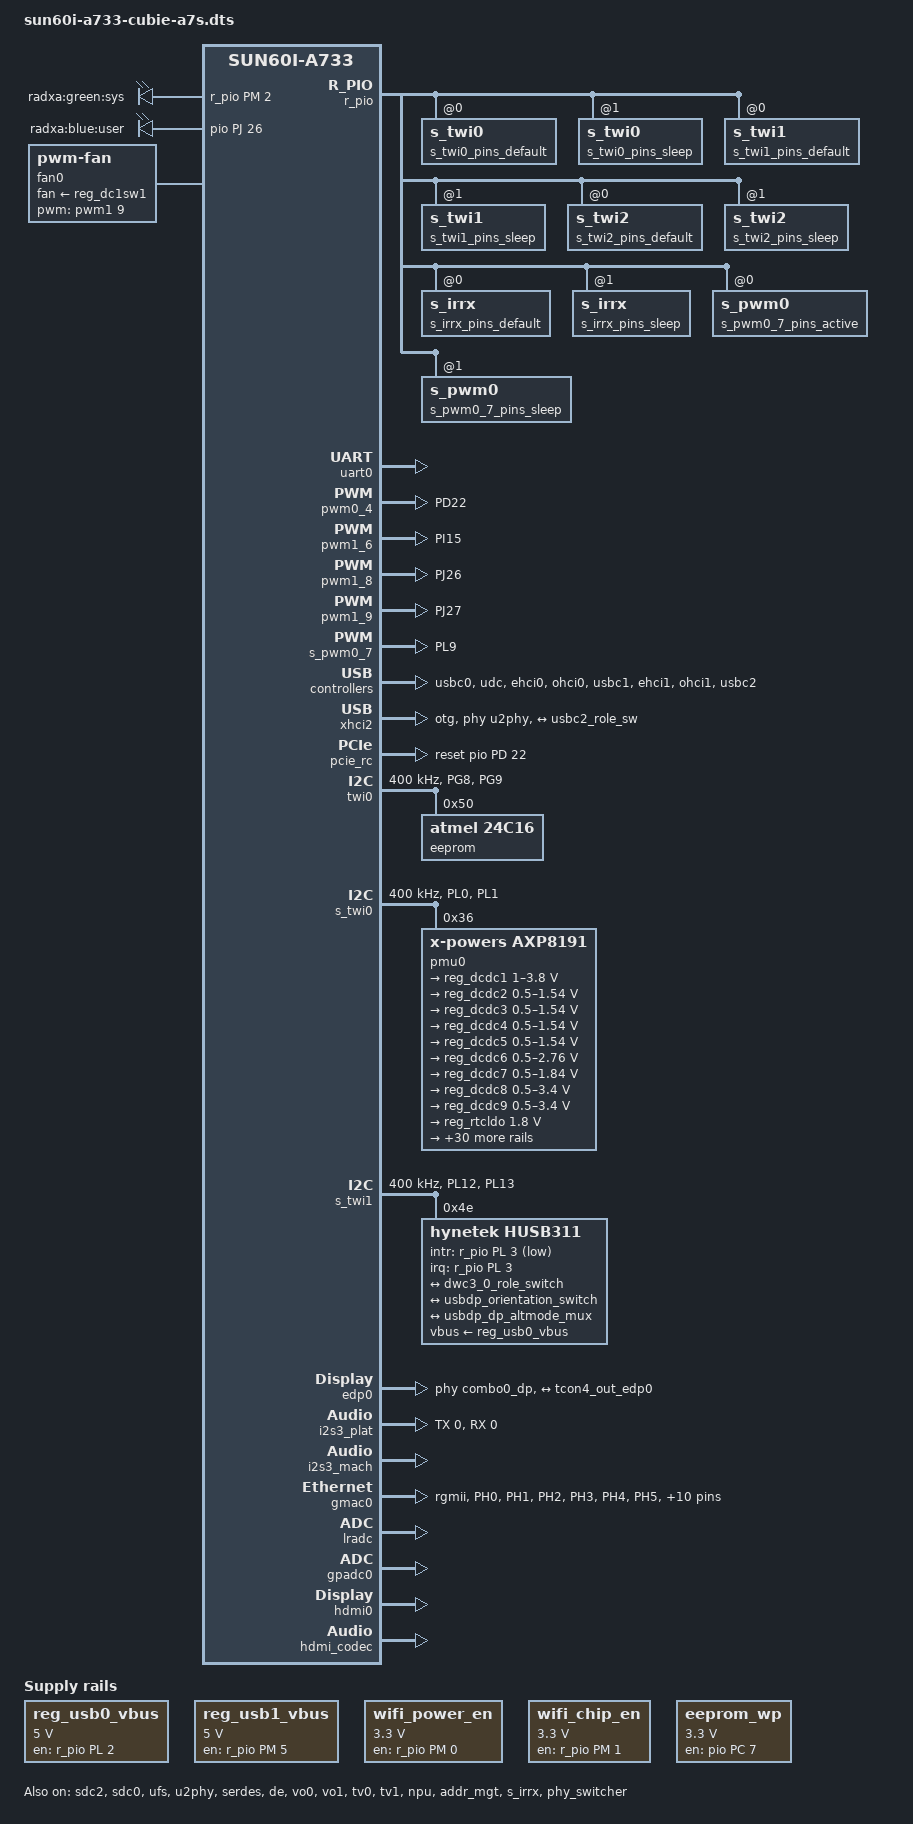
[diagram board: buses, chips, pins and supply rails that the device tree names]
// SPDX-License-Identifier: (GPL-2.0+ or MIT)

/dts-v1/;

#include "sun60iw2p1.dtsi"
#define TYPEC_DP 1
/{
	board = "A733", "A733-CUBIE-A7S-AXP318";
	compatible = "radxa,cubie-a7s", "arm,sun60iw2p1", "allwinner,sun60i-a733";
	aliases {
		arisc-config = &arisc_config;
		pmu0 = &pmu0;
		bat_supply = &bat_power_supply;
		phy_switcher = &phy_switcher;
	};

	reg_usb0_vbus: usb0-vbus {
		compatible = "regulator-fixed";
		regulator-name = "usb0-vbus";
		regulator-min-microvolt = <5000000>;
		regulator-max-microvolt = <5000000>;
		regulator-enable-ramp-delay = <1000>;
		gpio = <&r_pio PL 2 GPIO_ACTIVE_HIGH>;
		enable-active-high;
	};

	reg_usb1_vbus: usb1-vbus {
		compatible = "regulator-fixed";
		regulator-name = "usb1-vbus";
		regulator-min-microvolt = <5000000>;
		regulator-max-microvolt = <5000000>;
		regulator-enable-ramp-delay = <1000>;
		gpio = <&r_pio PM 5 GPIO_ACTIVE_HIGH>;
		enable-active-high;
	};

	wifi_power_en: wifi_power_en {
		compatible = "regulator-fixed";
		regulator-name = "wifi_power_en";
		regulator-min-microvolt = <3300000>;
		regulator-max-microvolt = <3300000>;
		regulator-enable-ramp-delay = <1000>;
		gpio = <&r_pio PM 0 GPIO_ACTIVE_HIGH>;
		enable-active-high;
		regulator-always-on;
		regulator-boot-on;
	};

	wifi_chip_en: wifi_chip_en {
		compatible = "regulator-fixed";
		regulator-name = "wifi_chip_en";
		regulator-min-microvolt = <3300000>;
		regulator-max-microvolt = <3300000>;
		regulator-enable-ramp-delay = <1000>;
		gpio = <&r_pio PM 1 GPIO_ACTIVE_HIGH>;
		enable-active-high;
		regulator-always-on;
		regulator-boot-on;
	};

	eeprom_wp: eeprom-wp {
		compatible = "regulator-fixed";
		regulator-name = "eeprom_wp";
		regulator-min-microvolt = <3300000>;
		regulator-max-microvolt = <3300000>;
		regulator-enable-ramp-delay = <1000>;
		gpio = <&pio PC 7 GPIO_ACTIVE_HIGH>;
		enable-active-high;
		regulator-always-on;
		regulator-boot-on;
	};

	arisc_config: arisc_config {
		s_uart_config{
			pins = "PL2", "PL3";
			function = <3>, <3>;
			status = "disabled";
		};
	};

	leds {
		compatible = "gpio-leds";

		led-0 {
			label = "radxa:green:sys";
			gpios = <&r_pio PM 2 GPIO_ACTIVE_HIGH>;
			linux,default-trigger = "default-on";
		};

		led-1 {
			label = "radxa:blue:user";
			gpios = <&pio PJ 26 GPIO_ACTIVE_HIGH>;
			linux,default-trigger = "heartbeat";
		};
	};

	fan0: pwm-fan {
		compatible = "pwm-fan";
		#cooling-cells = <2>;
		cooling-levels = <0 50 102 170 255>;
		fan-supply = <&reg_dc1sw1>;
		pwms = <&pwm1 9 25000 0>;
	};

	phy_switcher: phy_switcher@10 {
		compatible = "allwinner,sunxi-phy-switcher";
		reg = <0x0 0x10 0x0 0x0>;
		// hotplug = <&pio PH 4 GPIO_ACTIVE_HIGH>;
		aux_p = <&r_pio PL 10 GPIO_ACTIVE_HIGH>;
		aux_n = <&r_pio PL 11 GPIO_ACTIVE_HIGH>;
		phys = <&combo0_dp>, <&combo0_usb>;
		phy-names = "dp-phy", "usb-phy";
		dp_configure_delay = <20>;
		status = "okay";

		mode-switch;
		orientation-switch;
		svid = <0xff01>;
		port {
			#address-cells = <1>;
			#size-cells = <0>;
			usbdp_orientation_switch: endpoint@0 {
				reg = <0>;
				remote-endpoint = <&usbc2_orien_sw>;
			};
			usbdp_dp_altmode_mux: endpoint@1 {
				reg = <1>;
				remote-endpoint = <&dp_altmode_mux>;
			};
		};
	};
};

&ccu {
	clk-init-gate = <1>;
};

&pio {
	gpio-line-names =
	/* PA */
	"", "", "", "",
	"", "", "", "",
	"", "", "", "",
	"", "", "", "",
	"", "", "", "",
	"", "", "", "",
	"", "", "", "",
	"", "", "", "",
	/* PB */
	"PIN_7", "PIN_11", "PIN_29", "PIN_31",
	"PIN_36", "PIN_12", "PIN_35", "PIN_38",
	"PIN_37", "PIN_8", "PIN_10", "",
	"", "", "", "",
	"", "", "", "",
	"", "", "", "",
	"", "", "", "",
	"", "", "", "",
	/* PC */
	"", "", "", "",
	"", "", "", "",
	"", "", "", "",
	"", "", "", "",
	"", "", "", "",
	"", "", "", "",
	"", "", "", "",
	"", "", "", "",
	/* PD */
	"", "", "", "",
	"", "", "", "",
	"", "", "PIN_24", "PIN_23",
	"PIN_19", "PIN_21", "PIN_26", "",
	"PIN_28", "PIN_27", "", "",
	"", "", "", "",
	"", "", "", "",
	"", "", "", "",
	/* PE */
	"", "", "", "",
	"", "", "", "",
	"", "", "", "",
	"", "", "", "",
	"", "", "", "",
	"", "", "", "",
	"", "", "", "",
	"", "", "", "",
	/* PF */
	"", "", "", "",
	"", "", "", "",
	"", "", "", "",
	"", "", "", "",
	"", "", "", "",
	"", "", "", "",
	"", "", "", "",
	"", "", "", "",
	/* PG */
	"PIN_40", "PIN_41", "PIN_42", "PIN_43",
	"PIN_44", "PIN_45", "", "",
	"", "", "", "",
	"", "", "", "",
	"", "", "", "",
	"", "", "", "",
	"", "", "", "",
	"", "", "", "",
	/* PH */
	"", "", "", "",
	"", "", "", "",
	"", "", "", "",
	"", "", "", "",
	"", "", "", "",
	"", "", "", "",
	"", "", "", "",
	"", "", "", "",
	/* PI */
	"", "", "", "",
	"", "", "", "",
	"", "", "", "",
	"", "", "", "",
	"", "", "", "",
	"", "", "", "",
	"", "", "", "",
	"", "", "", "",
	/* PJ */
	"", "", "", "",
	"", "", "", "",
	"", "", "", "",
	"", "", "", "",
	"", "", "", "",
	"", "", "PIN_5", "PIN_3",
	"PIN_16", "PIN_18", "", "",
	"", "", "", "",
	/* PK */
	"", "", "", "",
	"", "", "", "",
	"", "", "", "",
	"", "", "", "",
	"", "", "", "",
	"", "", "", "",
	"", "", "", "",
	"", "", "", "";

	uart0_pins_active: uart0_pins@0 {
		pins = "", "";
		function = "uart0";
		drive-strength = <10>;
	};

	uart0_pins_sleep: uart0_pins@1 {
		pins = "", "";
		function = "gpio_in";
		drive-strength = <10>;
	};

	uart1_pins_active: uart1_pins@0 {
		pins = "PG6", "PG7", "PG8", "PG9";
		function = "uart1";
		drive-strength = <10>;
	};

	uart1_pins_sleep: uart1_pins@1 {
		pins = "PG6", "PG7", "PG8", "PG9";
		function = "io_disabled";
		drive-strength = <10>;
	};

	uart2_pins_active: uart2_pins@0 {
		pins = "PB0", "PB1", "PB2", "PB3";
		function = "uart2";
		drive-strength = <10>;
	};

	uart2_pins_sleep: uart2_pins@1 {
		pins = "PB0", "PB1", "PB2", "PB3";
		function = "io_disabled";
		drive-strength = <10>;
	};

	uart3_pins_active: uart3_pins@0 {
		pins = "PI1", "PI12";
		function = "uart3";
		drive-strength = <10>;
	};

	uart3_pins_sleep: uart3_pins@1 {
		pins = "PI11", "PI12";
		function = "io_disabled";
		drive-strength = <10>;
	};

	uart5_pins_active: uart5_pins@0 {
		pins = "", "";
		function = "uart5";
		drive-strength = <10>;
	};

	uart5_pins_sleep: uart5_pins@1 {
		pins = "", "";
		function = "io_disabled";
		drive-strength = <10>;
	};

	uart6_pins_active: uart6_pins@0 {
		pins = "PI6", "PI7";
		function = "uart6";
		drive-strength = <10>;
	};

	uart6_pins_sleep: uart6_pins@1 {
		pins = "PI6", "PI7";
		function = "io_disabled";
		drive-strength = <10>;
	};

	uart7_pins_active: uart7_pins@0 {
		pins = "PB11", "PB12", "PB13", "PB14";
		function = "uart7";
		drive-strength = <10>;
	};

	uart7_pins_sleep: uart7_pins@1 {
		pins = "PB11", "PB12", "PB13", "PB14";
		function = "io_disabled";
		drive-strength = <10>;
	};

	pwm0_4_pins_active: pwm0@0 {
		pins = "PD22";
		function = "pwm0_4";
		drive-strength = <10>;
	};

	pwm0_4_pins_sleep: pwm0@1 {
		pins = "PD22";
		function = "gpio_in";
		bias-pull-down;
	};

	pwm1_8_pins_active: pwm1@0 {
		pins = "PJ26";
		function = "pwm1_8";
		drive-strength = <10>;
	};

	pwm1_8_pins_sleep: pwm1@1 {
		pins = "PJ26";
		function = "gpio_in";
		bias-pull-down;
	};

	pwm1_9_pins_active: pwm1@0 {
		pins = "PJ27";
		function = "pwm1_9";
		drive-strength = <10>;
	};

	pwm1_9_pins_sleep: pwm1@1 {
		pins = "PJ27";
		function = "gpio_in";
		bias-pull-down;
	};

	pwm1_6_pins_active: pwm6@0 {
		pins = "PI15";
		function = "pwm1_6";
		drive-strength = <10>;
	};

	pwm1_6_pins_sleep: pwm6@1 {
		pins = "PI15";
		function = "gpio_in";
		bias-pull-down;
	};

	twi0_pins_default: twi0@0 {
		pins = "PG8", "PG9";
		function = "twi0";
		drive-strength = <10>;
		bias-pull-up;
	};

	twi0_pins_sleep: twi0@1 {
		pins = "PG8", "PG9";
		function = "gpio_in";
	};

	twi2_pins_default: twi2@0 {
		pins = "PD16", "PD17";
		function = "twi2";
		drive-strength = <10>;
		bias-pull-up;
	};

	twi2_pins_sleep: twi2@1 {
		pins = "PD16", "PD17";
		function = "gpio_in";
	};

	twi5_pins_default: twi5@0 {
		pins = "PI11", "PI12";
		function = "twi5";
		drive-strength = <10>;
		bias-pull-up;
	};

	twi5_pins_sleep: twi5@1 {
		pins = "PI11", "PI12";
		function = "gpio_in";
	};

	twi7_pins_default: twi4@0 {
		pins = "PJ22", "PJ23";
		function = "twi7";
		drive-strength = <10>;
		bias-pull-up;
	};

	twi7_pins_sleep: twi4@1 {
		pins = "PJ22", "PJ23";
		function = "gpio_in";
	};

	twi11_pins_default: twi11@0 {
		pins = "PI4", "PI5";
		function = "twi11";
		drive-strength = <10>;
		bias-pull-up;
	};

	twi11_pins_sleep: twi11@1 {
		pins = "PI4", "PI5";
		function = "gpio_in";
	};

	/* i2s0 pins */
	i2s0_pins_a: i2s0@0 {
		pins = "PB4";
		function = "i2s0_mclk";
		allwinner,drive = <1>;
		bias-disable;
	};

	i2s0_pins_b: i2s0@1 {
		pins = "PB5";
		function = "i2s0_bclk";
		allwinner,drive = <1>;
		bias-disable;
	};

	i2s0_pins_c: i2s0@2 {
		pins = "PB6";
		function = "i2s0_lrck";
		allwinner,drive = <1>;
		bias-disable;
	};

	i2s0_pins_e: i2s0@4 {
		pins = "PB7";
		function = "i2s0_dout0";
		allwinner,drive = <1>;
		bias-pull-down;
	};

	i2s0_pins_d: i2s0@3 {
		pins = "PB8";
		function = "i2s0_din0";
		allwinner,drive = <1>;
		bias-pull-down;
	};

	i2s0_pins_f: i2s0@5 {
		pins = "PB4", "PB5", "PB6", "PB7", "PB8";
		function = "io_disabled";
		allwinner,drive = <1>;
		bias-disable;
	};

	/* i2s1 pins */
	i2s1_pins_a: i2s1@0 {
		pins = "PG10";
		function = "i2s1_mclk";
		allwinner,drive = <1>;
		bias-disable;
	};

	i2s1_pins_b: i2s1@1 {
		pins = "PG11";
		function = "i2s1_bclk";
		allwinner,drive = <1>;
		bias-disable;
	};

	i2s1_pins_c: i2s1@2 {
		pins = "PG12";
		function = "i2s1_lrck";
		allwinner,drive = <1>;
		bias-disable;
	};

	i2s1_pins_d: i2s1@3 {
		pins = "PG13";
		function = "i2s1_din1";
		allwinner,drive = <1>;
		bias-disable;
	};

	i2s1_pins_e: i2s1@4 {
		pins = "PG14";
		function = "i2s1_dout1";
		allwinner,drive = <1>;
		bias-disable;
	};

	i2s1_pins_f: i2s1@5 {
		pins = "PG10", "PG11", "PG12", "PG13", "PG14";
		function = "io_disabled";
		allwinner,drive = <1>;
		bias-disable;
	};

	/* i2s2 pins */
	i2s2_pins_b: i2s2@1 {
		pins = "PH3";
		function = "i2s2_bclk";
		allwinner,drive = <1>;
		bias-disable;
	};

	i2s2_pins_c: i2s2@2 {
		pins = "PH4";
		function = "i2s2_lrck";
		allwinner,drive = <1>;
		bias-disable;
	};

	i2s2_pins_d: i2s2@3 {
		pins = "PH6";
		function = "i2s2_din0";
		allwinner,drive = <1>;
		bias-disable;
	};

	i2s2_pins_e: i2s2@4 {
		pins = "PH5";
		function = "i2s2_dout0";
		allwinner,drive = <1>;
		bias-disable;
	};

	i2s2_pins_f: i2s2@5 {
		pins = "PH3", "PH4", "PH5", "PH6";
		function = "io_disabled";
		allwinner,drive = <1>;
		bias-disable;
	};

	/* i2s4 pins */
	i2s4_pins_a: i2s4@0 {
		pins = "PJ17";
		function = "i2s4_mclk";
		allwinner,drive = <1>;
		bias-disable;
	};

	i2s4_pins_b: i2s4@1 {
		pins = "PJ16";
		function = "i2s4_bclk";
		allwinner,drive = <1>;
		bias-disable;
	};

	i2s4_pins_c: i2s4@2 {
		pins = "PJ18";
		function = "i2s4_lrck";
		allwinner,drive = <1>;
		bias-disable;
	};

	i2s4_pins_d: i2s4@3 {
		pins = "PJ19";
		function = "i2s4_din0";
		allwinner,drive = <1>;
		bias-pull-down;
	};

	i2s4_pins_f: i2s4@5 {
		pins = "PJ16", "PJ17", "PJ18", "PJ19";
		function = "io_disabled";
		allwinner,drive = <1>;
		bias-disable;
	};

	owa_pins_a: owa@0 {
		pins = "PI10";
		function = "owa0";
		allwinner,drive = <1>;
		bias-disable;
	};

	owa_pins_b: owa@1 {
		pins = "PI10";
		function = "io_disabled";
		allwinner,drive = <1>;
		bias-disable;
	};

	gmac0_pins_default: gmac0@0 {
		pins = "PH0", "PH1", "PH2", "PH3", "PH4", "PH5", "PH6", "PH7",
			"PH8", "PH9", "PH10", "PH11", "PH12","PH13", "PH14", "PH15";
		function = "rgmii0";
		allwinner,drive = <1>;
		bias-pull-up;
	};

	gmac0_pins_sleep: gmac0@1 {
		pins = "PH0", "PH1", "PH2", "PH3", "PH4", "PH5", "PH6", "PH7",
			"PH8", "PH9", "PH10", "PH11", "PH12","PH13", "PH14", "PH15";
		function = "io_disabled";
	};

	spi0_pins_default: spi0@0 {
		pins = "PC12", "PC2", "PC4"; /* clk, mosi, miso */
		function = "spi0";
		allwinner,drive = <1>;
		//drive-strength = <20>;
	};

	spi0_pins_cs: spi0@1 {
		pins = "PC3"; /* cs */
		function = "spi0";
		allwinner,drive = <1>;
		//drive-strength = <20>;
		bias-pull-up;
	};

	spi0_pins_sleep: spi0@2 {
		pins = "PC12", "PC2", "PC4", "PC3";
		function = "io_disabled";
	};

	ledc_pins_a: ledc@0 {
		pins = "PE4";
		function = "ledc";
		drive-strength = <10>;
	};

	ledc_pins_b: ledc@1 {
		pins = "PE4";
		function = "gpio_in";
	};
};

&r_pio {
	gpio-line-names =
	/* PL */
	"", "", "", "",
	"", "PIN_22", "PIN_13", "PIN_15",
	"", "", "", "",
	"", "", "", "",
	"", "", "", "",
	"", "", "", "",
	"", "", "", "",
	"", "", "", "",
	/* PM */
	"", "", "", "PIN_32",
	"PIN_33", "", "", "",
	"", "", "", "",
	"", "", "", "",
	"", "", "", "",
	"", "", "", "",
	"", "", "", "",
	"", "", "", "",
	"", "", "", "",
	/* PN */
	"", "", "", "",
	"", "", "", "",
	"", "", "", "",
	"", "", "", "",
	"", "", "", "",
	"", "", "", "",
	"", "", "", "",
	"", "", "", "";

	s_twi0_pins_default: s_twi0@0 {
		pins = "PL0", "PL1";
		function = "s_twi0";
		drive-strength = <10>;
		bias-pull-up;
	};

	s_twi0_pins_sleep: s_twi0@1 {
		pins = "PL0", "PL1";
		function = "gpio_in";
	};

	s_twi1_pins_default: s_twi1@0 {
		pins = "PL12", "PL13";
		function = "s_twi1";
		drive-strength = <30>;
		//bias-pull-up;
	};

	s_twi1_pins_sleep: s_twi1@1 {
		pins = "PL12", "PL13";
		function = "gpio_in";
	};

	s_twi2_pins_default: s_twi2@0 {
		pins = "PL4", "PL5";
		function = "s_twi2";
		drive-strength = <10>;
		bias-pull-up;
	};

	s_twi2_pins_sleep: s_twi2@1 {
		pins = "PL4", "PL5";
		function = "gpio_in";
	};

	s_irrx_pins_default: s_irrx@0 {
		pins = "PL4";
		function = "s_ir_rx";
	};

	s_irrx_pins_sleep: s_irrx@1 {
		pins = "PL4";
		function = "gpio_in";
	};

	s_pwm0_7_pins_active:s_pwm0@0 {
		pins = "PL9";
		function = "s_pwm0_7";
		drive-strength = <10>;
	};

	s_pwm0_7_pins_sleep:s_pwm0@1 {
		pins = "PL9";
		function = "gpio_in";
		bias-pull-down;
	};
};

&soc {
	auto_print@54321 {
		reg = <0x0 0x54321 0x0 0x0>;
		device_type = "auto_print";
		status = "okay";
	};

	gpio_leds {
		compatible = "allwinner,sunxi-gpio-leds";
		supply-num = <1>;
		gpio1-supply = <&reg_dcdc1>;
		gpio-pins = <&pio PJ 26 GPIO_ACTIVE_HIGH>;
		pin-names = "standby_led";
		init-status = <GPIO_ACTIVE_HIGH>;
		/* disabled: conflicts with gpio-leds/led-1 heartbeat on PJ 26 */
		status = "disabled";
	};

};

&msgbox {
	status = "disabled";
};

&hwspinlock {
	status = "disabled";
};

&uart0 {
	/* allwinner,uart-v100 is not matched by any compiled driver (AW_UART handles
	 * older sun8i/50i/55i strings; AW_UART_NG not enabled). Add snps,dw-apb-uart
	 * so CONFIG_SERIAL_8250_DW binds and creates /dev/ttyS0. reg-shift=2 and
	 * reg-io-width=4 match earlycon mmio32 — standard for Allwinner 32-bit UARTs. */
	compatible = "allwinner,uart-v100", "snps,dw-apb-uart";
	reg-shift = <2>;
	reg-io-width = <4>;
	pinctrl-names = "default", "sleep";
	pinctrl-0 = <&uart0_pins_active>;
	pinctrl-1 = <&uart0_pins_sleep>;
	status = "okay";
};

&uart2 {
	pinctrl-names = "default", "sleep";
	pinctrl-0 = <&uart2_pins_active>;
	pinctrl-1 = <&uart2_pins_sleep>;
	status = "disabled";
};

&uart3 {
	pinctrl-names = "default", "sleep";
	pinctrl-0 = <&uart3_pins_active>;
	pinctrl-1 = <&uart3_pins_sleep>;
	status = "disabled";
};

&uart5 {
	pinctrl-names = "default", "sleep";
	pinctrl-0 = <&uart5_pins_active>;
	pinctrl-1 = <&uart5_pins_sleep>;
	status = "disabled";
};

&uart6 {
	pinctrl-names = "default", "sleep";
	pinctrl-0 = <&uart6_pins_active>;
	pinctrl-1 = <&uart6_pins_sleep>;
	status = "disabled";
};

&uart7 {
	pinctrl-names = "default", "sleep";
	pinctrl-0 = <&uart7_pins_active>;
	pinctrl-1 = <&uart7_pins_sleep>;
	status = "disabled";
};

&pwm0_4 {
	pinctrl-names = "active", "sleep";
	pinctrl-0 = <&pwm0_4_pins_active>;
	pinctrl-1 = <&pwm0_4_pins_sleep>;
	status = "okay";
};

&pwm1_6 {
	pinctrl-names = "active", "sleep";
	pinctrl-0 = <&pwm1_6_pins_active>;
	pinctrl-1 = <&pwm1_6_pins_sleep>;
	status = "okay";
};

&pwm1_8 {
	pinctrl-names = "active", "sleep";
	pinctrl-0 = <&pwm1_8_pins_active>;
	pinctrl-1 = <&pwm1_8_pins_sleep>;
	status = "okay";
};

&pwm1_9 {
	pinctrl-names = "active", "sleep";
	pinctrl-0 = <&pwm1_9_pins_active>;
	pinctrl-1 = <&pwm1_9_pins_sleep>;
	status = "okay";
};

&s_pwm0_7 {
	pinctrl-names = "active", "sleep";
	pinctrl-0 = <&s_pwm0_7_pins_active>;
	pinctrl-1 = <&s_pwm0_7_pins_sleep>;
	status = "okay";
};

&soc{

};

/*
 * CPU DVFS OPP tables — voltages from BSP sun60iw2p1-cpu-vf.dtsi vf0000
 * grade (worst-case, safe for all silicon).
 * DCDC5 → LITTLE cluster (cpu0-5), DCDC3 → BIG cluster (cpu6-7).
 */
/ {
	a733_cluster0_opp: cluster0-opp-table-a733 {
		compatible = "operating-points-v2";
		opp-shared;

		opp-408000000  { opp-hz = /bits/ 64 <408000000>;  opp-microvolt = <800000>;  clock-latency-ns = <244144>; };
		opp-720000000  { opp-hz = /bits/ 64 <720000000>;  opp-microvolt = <800000>;  clock-latency-ns = <244144>; };
		opp-1008000000 { opp-hz = /bits/ 64 <1008000000>; opp-microvolt = <800000>;  clock-latency-ns = <244144>; };
		opp-1200000000 { opp-hz = /bits/ 64 <1200000000>; opp-microvolt = <800000>;  clock-latency-ns = <244144>; };
		opp-1416000000 { opp-hz = /bits/ 64 <1416000000>; opp-microvolt = <800000>;  clock-latency-ns = <244144>; };
		opp-1608000000 { opp-hz = /bits/ 64 <1608000000>; opp-microvolt = <900000>;  clock-latency-ns = <244144>; };
		opp-1800000000 { opp-hz = /bits/ 64 <1800000000>; opp-microvolt = <1000000>; clock-latency-ns = <244144>; };
	};

	a733_cluster1_opp: cluster1-opp-table-a733 {
		compatible = "operating-points-v2";
		opp-shared;

		opp-408000000  { opp-hz = /bits/ 64 <408000000>;  opp-microvolt = <800000>; clock-latency-ns = <244144>; };
		opp-720000000  { opp-hz = /bits/ 64 <720000000>;  opp-microvolt = <800000>; clock-latency-ns = <244144>; };
		opp-1008000000 { opp-hz = /bits/ 64 <1008000000>; opp-microvolt = <800000>; clock-latency-ns = <244144>; };
		opp-1200000000 { opp-hz = /bits/ 64 <1200000000>; opp-microvolt = <800000>; clock-latency-ns = <244144>; };
		opp-1512000000 { opp-hz = /bits/ 64 <1512000000>; opp-microvolt = <800000>;  clock-latency-ns = <244144>; };
		opp-1800000000 { opp-hz = /bits/ 64 <1800000000>; opp-microvolt = <950000>;  clock-latency-ns = <244144>; };
		opp-2000000000 { opp-hz = /bits/ 64 <2000000000>; opp-microvolt = <1050000>; clock-latency-ns = <244144>; };
	};
};

/* Point all CPU nodes at the clean OPP tables above */
&cpu0 { operating-points-v2 = <&a733_cluster0_opp>; };
&cpu1 { operating-points-v2 = <&a733_cluster0_opp>; };
&cpu2 { operating-points-v2 = <&a733_cluster0_opp>; };
&cpu3 { operating-points-v2 = <&a733_cluster0_opp>; };
&cpu4 { operating-points-v2 = <&a733_cluster0_opp>; };
&cpu5 { operating-points-v2 = <&a733_cluster0_opp>; };
&cpu6 { operating-points-v2 = <&a733_cluster1_opp>; };
&cpu7 { operating-points-v2 = <&a733_cluster1_opp>; };

&cpul_target {
	temperature = <60000>;
	hysteresis = <2000>;
};

&cpul_threshold{
	type = "active";
	temperature = <60000>;
	hysteresis = <2000>;
};

&cpul_thermal_zone {
	cooling-maps {
		map0 {
			trip = <&cpul_target>;
			cooling-device = <&cpu0 THERMAL_NO_LIMIT THERMAL_NO_LIMIT>;
			contribution = <1024>;
		};

		map1 {
			trip = <&cpul_threshold>;
			cooling-device = <&fan0 THERMAL_NO_LIMIT THERMAL_NO_LIMIT>;
			contribution = <1024>;
		};
	};
};

&cpub_target {
	temperature = <60000>;
	hysteresis = <2000>;
};

&cpub_threshold{
	type = "active";
	temperature = <60000>;
	hysteresis = <2000>;
};

&cpub_thermal_zone {
	cooling-maps {
		map0 {
			trip = <&cpub_target>;
			cooling-device = <&cpu6 THERMAL_NO_LIMIT THERMAL_NO_LIMIT>;
			contribution = <1024>;
		};

		map1 {
			trip = <&cpub_threshold>;
			cooling-device = <&fan0 2 THERMAL_NO_LIMIT>;
			contribution = <1024>;
		};
	};
};

&sdc2 {
	non-removable;
	bus-width = <8>;
	mmc-ddr-1_8v;
	mmc-hs200-1_8v;
	mmc-hs400-1_8v;
	no-sdio;
	no-sd;
	ctl-spec-caps = <0x328>;
	cap-mmc-highspeed;
	sunxi-power-save-mode;
	sunxi-dis-signal-vol-sw;
	mmc-bootpart-noacc;
	cap-hsq;
	/*cqe-on;*/
	ctl-cmdq-md = <0x2>;
	max-frequency = <200000000>;
	/*vmmc-supply = <&reg_cldo3>;*/
	/*emmc io vol 3.3v*/
	/*vqmmc-supply = <&reg_aldo1>;*/
	/*emmc io vol 1.8v*/
	/*vqmmc-supply = <&reg_cldo1>;*/
	vmmc-supply = <&reg_dc1sw2>;
	vqmmc33sw-supply = <&reg_dc1sw2>;
	vdmmc33sw-supply = <&reg_dc1sw2>;
	vqmmc18sw-supply = <&reg_cldo5>;
	vdmmc18sw-supply = <&reg_cldo5>;
	status = "okay";
};

&sdc1 {
	status = "disabled";
};

&sdc0 {
	bus-width = <4>;
	cd-gpios = <&pio PF 6 (GPIO_ACTIVE_HIGH | GPIO_PULL_DOWN)>;
	/*non-removable;*/
	/*broken-cd;*/
	/*cd-inverted*/
	/*data3-detect;*/
	/*card-pwr-gpios = <&pio PH 14 1 1 2 0xffffffff>;*/
	cd-used-24M;
	cd-set-debounce = <0x1>;
	cap-sd-highspeed;
	no-1-8-v;
	no-sdio;
	no-mmc;
	sunxi-power-save-mode;
	sunxi-dis-signal-vol-sw;
	max-frequency = <200000000>;
	ctl-spec-caps = <0x428>;
	vmmc-supply = <&reg_dc1sw2>;
	vqmmc33sw-supply = <&reg_dc1sw2>;
	vdmmc33sw-supply = <&reg_dc1sw2>;
	vqmmc18sw-supply = <&reg_cldo5>;
	vdmmc18sw-supply = <&reg_cldo5>;
	status = "okay";
};

&ufs {
	vcc-supply = <&reg_dldo6>;
	vccq-supply = <&reg_dcdc8>;
	vccq2-supply = <&reg_dcdc8>;
	status = "okay";
};

#ifdef TYPEC_DP
// &usbc0 {
// 	usb-role-switch;
// 	port {
// 		#address-cells = <1>;
// 		#size-cells = <0>;
// 		usbc0_role_switch: endpoint@0 {
// 			reg = <0>;
// 			remote-endpoint = <&usbc0_role_sw>;
// 		};
// 	};
// };
#endif

/*
 * usb_port_type: usb mode. 0-device, 1-host, 2-otg.
 * usb_detect_type: usb hotplug detect mode. 0-none, 1-vbus/id detect, 2-pmu detect, 3-tcpm detect.
 * usb_detect_mode: 0-thread scan, 1-id gpio interrupt, 2-pmu notify.
 * usb_id_gpio: gpio for id detect.
 * usb_det_vbus_gpio: gpio for id detect. gpio or "axp_ctrl".
 * usb_wakeup_suspend：0-SUPER_STANDBY, 1-USB_STANDBY.
 */
&usbc0 {
	device_type = "usbc0";
	usb_port_type = <0x0>;
// #ifdef TYPEC_DP
// 	usb_detect_type = <0x3>;
// #else
// 	usb_detect_type = <0x1>;
// #endif
	usb_detect_type = <0x2>;
	usb_detect_mode = <0x2>;
	usb_id_gpio;
	//enable-active-high;
	usb_det_vbus_gpio = "axp_ctrl";
	//enable-active-high;
	detvbus_io-supply = <&reg_cldo1>;
	usb_regulator_io = "nocare";
	usb_wakeup_suspend = <0>;
	usb_luns = <3>;
	usb_serial_unique = <0>;
	usb_serial_number = "20080411";
	rndis_wceis = <1>;
	status = "okay";
};

&udc {
	phy_range = <0x188>;
	status = "okay";
};

&ehci0 {
	phy_range = <0x188>;
	status = "okay";
};

&ohci0 {
	phy_range = <0x188>;
	status = "okay";
};

&usbc1 {
	device_type = "usbc1";
	usb_regulator_io = "nocare";
	usb_wakeup_suspend = <0>;
	status = "okay";
};

&ehci1 {
	phy_range = <0x188>;
	drvvbus-supply = <&reg_usb1_vbus>;
	status = "okay";
};

&ohci1 {
	phy_range = <0x188>;
	drvvbus-supply = <&reg_usb1_vbus>;
	status = "okay";
};

&usbc2 {
	device_type = "usbc2";
	drvvbus-supply = <&reg_usb0_vbus>;
	status = "okay";
};

&xhci2 {
	dr_mode = "otg"; //dr_mode option: host, peripheral, otg
	role-switch-default-mode = "host";
	phy-names = "usb2-phy", "usb3-phy";
	status = "okay";

#ifdef TYPEC_DP
	phys = <&u2phy>, <&combo0_usb>;
	usb-role-switch;
	port {
		#address-cells = <1>;
		#size-cells = <0>;
		dwc3_0_role_switch: endpoint@0 {
			reg = <0>;
			remote-endpoint = <&usbc2_role_sw>;
		};
	};
#else
	phys = <&u2phy>, <&combo1_usb>;
#endif
 };

&u2phy {
	status = "okay";
};

&serdes {
	serdes1v8-supply = <&reg_cldo5>;
	status = "okay";
	combophy0: combo-phy0@6c01000 {
		lane_invert = <1 1 1 1>;
#ifdef TYPEC_DP
		lane_remap = <0 1 2 3>;
#else
		lane_remap = <2 3 0 1>;
#endif
		typec_remap = <2 3 0 1>;
	};
};

&pcie_rc {
	pcie1v8-supply = <&reg_dc1sw1>;
	pcie3v3-supply = <&reg_bldo2>;
	power-gpios =  <&pio PD 20 GPIO_ACTIVE_HIGH>;
	reset-gpios = <&pio PD 22 GPIO_ACTIVE_HIGH>;
	wake-gpios = <&pio PD 21 GPIO_ACTIVE_HIGH>;
	status = "okay";
};

&twi0 {
	clock-frequency = <400000>;
	pinctrl-0 = <&twi0_pins_default>;
	pinctrl-1 = <&twi0_pins_sleep>;
	pinctrl-names = "default", "sleep";
	/* For stability and backwards compatibility, we recommend setting ‘twi_drv_used’ to 1 */
	twi_drv_used = <0>;
	no_suspend = <1>;
	twi-supply = <&reg_aldo1>;
	status = "okay";

	eeprom@50 {
		compatible = "atmel,24c16";
		reg = <0x50>;
		//num-addresses = <1>;
		status = "okay";
	};
};

&s_twi0 {
	clock-frequency = <400000>;
	pinctrl-0 = <&s_twi0_pins_default>;
	pinctrl-1 = <&s_twi0_pins_sleep>;
	pinctrl-names = "default", "sleep";
	/* For stability and backwards compatibility, we recommend setting ‘twi_drv_used’ to 1 */
	twi_drv_used = <1>;
	//twi-supply = <&reg_aldo1>;
	no_suspend = <1>;
	status = "okay";

	pmu1: pmu@34 {
		compatible = "x-powers,axp515";
		reg = <0x34>;
		status = "disabled";
		interrupts = <0 IRQ_TYPE_LEVEL_LOW>;
		interrupt-parent = <&nmi_intc>;
		x-powers,drive-vbus-en;
		pmu_irq_wakeup = <1>;
		pmu_hot_shutdown = <1>;
		pmu_thermal_threshold = <120>;

		wakeup-source;

		powerkey0: powerkey@0 {
			status = "disabled";
			compatible = "x-powers,axp515-pek";
		};

		usb_power_supply: usb_power_supply {
			compatible = "x-powers,axp515-usb-power-supply";
			status = "disabled";

			pmu_usbpc_vol = <4600>;
			pmu_usbpc_cur = <500>;
			pmu_usbad_vol = <4500>;
			pmu_usbad_cur = <2500>;
			pmu_usb_typec_used = <1>;
			wakeup_usb_in;
			wakeup_usb_out;
			wakeup_typec_in;
			wakeup_typec_out;

			det_battery_supply = <&bat_power_supply>;
		};

		bat_power_supply: bat-power-supply {
			compatible = "x-powers,axp515-bat-power-supply";
			status = "disabled";
			pmu_chg_ic_temp = <0>;

			pmu_battery_rdc= <88>;
			pmu_battery_cap = <7085>;
			pmu_runtime_chgcur = <1000>;
			pmu_suspend_chgcur = <1500>;
			pmu_shutdown_chgcur = <1500>;
			pmu_init_chgvol = <4350>;
			pmu_battery_warning_level1 = <15>;
			pmu_battery_warning_level2 = <0>;
			pmu_chgled_func = <0>;
			pmu_chgled_type = <0>;
			pmu_bat_para1 = <0>;
			pmu_bat_para2 = <0>;
			pmu_bat_para3 = <0>;
			pmu_bat_para4 = <0>;
			pmu_bat_para5 = <1>;
			pmu_bat_para6 = <2>;
			pmu_bat_para7 = <2>;
			pmu_bat_para8 = <2>;
			pmu_bat_para9 = <3>;
			pmu_bat_para10 = <7>;
			pmu_bat_para11 = <12>;
			pmu_bat_para12 = <15>;
			pmu_bat_para13 = <20>;
			pmu_bat_para14 = <25>;
			pmu_bat_para15 = <32>;
			pmu_bat_para16 = <37>;
			pmu_bat_para17 = <43>;
			pmu_bat_para18 = <51>;
			pmu_bat_para19 = <57>;
			pmu_bat_para20 = <61>;
			pmu_bat_para21 = <65>;
			pmu_bat_para22 = <70>;
			pmu_bat_para23 = <73>;
			pmu_bat_para24 = <78>;
			pmu_bat_para25 = <81>;
			pmu_bat_para26 = <85>;
			pmu_bat_para27 = <88>;
			pmu_bat_para28 = <92>;
			pmu_bat_para29 = <93>;
			pmu_bat_para30 = <97>;
			pmu_bat_para31 = <100>;
			pmu_bat_para32 = <100>;

			pmu_bat_temp_enable = <1>;
			pmu_jetia_en        = <0>;
			pmu_bat_charge_ltf = <2079>; //-5
			pmu_bat_charge_htf = <180>; //60
			pmu_bat_shutdown_ltf = <2616>; //-10
			pmu_bat_shutdown_htf = <157>; //65
			pmu_jetia_cool = <1664>; //0
			pmu_jetia_warm = <248>; //50
			pmu_jcool_ifall = <1>;//50%
			pmu_jwarm_ifall = <1>;//50%
			pmu_bat_temp_para1 = <5450>; //Murata -25
			pmu_bat_temp_para2 = <3315>; //-15
			pmu_bat_temp_para3 = <2616>; //-10
			pmu_bat_temp_para4 = <2079>; //-5
			pmu_bat_temp_para5 = <1664>;//0
			pmu_bat_temp_para6 = <1340>; //5
			pmu_bat_temp_para7 = <1086>; //10
			pmu_bat_temp_para8 = <727>; //20
			pmu_bat_temp_para9 = <498>; //30
			pmu_bat_temp_para10 = <348>; //40
			pmu_bat_temp_para11 = <293>; //45
			pmu_bat_temp_para12 = <248>; //50
			pmu_bat_temp_para13 = <211>; //55
			pmu_bat_temp_para14 = <180>; //60
			pmu_bat_temp_para15 = <133>; //70
			pmu_bat_temp_para16 = <100>; //80

			wakeup_bat_out;
			wakeup_new_soc;
			/* wakeup_bat_in; */
			/* wakeup_bat_charging; */
			/* wakeup_bat_charge_over; */
			/* wakeup_low_warning1; */
			/* wakeup_low_warning2; */
			wakeup_bat_untemp_chg;
			wakeup_bat_ovtemp_chg;
		};

		regulator1: regulators@1 {
			compatible = "x-powers,axp515-regulator";
			status = "disabled";
			reg_drivevbus: drivevbus {
				regulator-name = "axp515-drivevbus";
				regulator-enable-ramp-delay = <1000>;
			};
		};

		virtual-drivevbus {
			compatible = "xpower-vregulator,drivevbus";
			drivevbus-supply = <&reg_drivevbus>;
		};
	};

	pmu0: pmu@36 {
		compatible = "x-powers,axp8191";
		reg = <0x36>;
		status = "okay";
		interrupts = <0 IRQ_TYPE_LEVEL_LOW>;
		interrupt-parent = <&nmi_intc>;
		pmu_irq_wakeup = <1>;
		pmu_hot_shutdown = <1>;

		powerkey1: powerkey@1 {
			compatible = "x-powers,axp2101-pek";
			status = "okay";
			pmu_powkey_off_en = <1>;
			pmu_powkey_off_func = <1>;
			pmu_powkey_off_time = <8000>;
			pmu_powkey_long_time = <1500>;
			pmu_powkey_on_time = <1000>;
			wakeup_rising;
			wakeup_falling;
		};

		regulator0: regulators@0 {
			reg_dcdc1: dcdc1 {
				regulator-name = "axp8191-dcdc1";
				regulator-min-microvolt = <1000000>;
				regulator-max-microvolt = <3800000>;
				regulator-enable-ramp-delay = <1000>;
				regulator-ramp-delay = <250>;
				regulator-boot-on;
				regulator-always-on;
			};
			reg_dcdc2: dcdc2 {
				regulator-name = "axp8191-dcdc2";
				regulator-min-microvolt = <500000>;
				regulator-max-microvolt = <1540000>;
				regulator-ramp-delay = <250>;
				regulator-enable-ramp-delay = <1000>;
				regulator-boot-on;
				regulator-always-on;
			};
			reg_dcdc3: dcdc3 {
				regulator-name = "axp8191-dcdc3";
				regulator-min-microvolt = <500000>;
				regulator-max-microvolt = <1540000>;
				regulator-ramp-delay = <250>;
				regulator-enable-ramp-delay = <1000>;
				regulator-boot-on;
				regulator-always-on;
			};
			reg_dcdc4: dcdc4 {
				regulator-name = "axp8191-dcdc4";
				regulator-min-microvolt = <500000>;
				regulator-max-microvolt = <1540000>;
				regulator-ramp-delay = <250>;
				regulator-enable-ramp-delay = <1000>;
				regulator-boot-on;
				regulator-always-on;
			};
			reg_dcdc5: dcdc5 {
				regulator-name = "axp8191-dcdc5";
				regulator-min-microvolt = <500000>;
				regulator-max-microvolt = <1540000>;
				regulator-ramp-delay = <250>;
				regulator-enable-ramp-delay = <1000>;
				regulator-boot-on;
				regulator-always-on;
			};
			reg_dcdc6: dcdc6 {
				regulator-name = "axp8191-dcdc6";
				regulator-min-microvolt = <500000>;
				regulator-max-microvolt = <2760000>;
				regulator-ramp-delay = <250>;
				regulator-enable-ramp-delay = <1000>;
				regulator-boot-on;
				regulator-always-on;
			};
			reg_dcdc7: dcdc7 {
				regulator-name = "axp8191-dcdc7";
				regulator-min-microvolt = <500000>;
				regulator-max-microvolt = <1840000>;
				regulator-ramp-delay = <250>;
				regulator-enable-ramp-delay = <1000>;
				regulator-boot-on;
				regulator-always-on;
			};
			reg_dcdc8: dcdc8 {
				regulator-name = "axp8191-dcdc8";
				regulator-min-microvolt = <500000>;
				regulator-max-microvolt = <3400000>;
				regulator-ramp-delay = <250>;
				regulator-enable-ramp-delay = <1000>;
				regulator-boot-on;
				regulator-always-on;
			};
			reg_dcdc9: dcdc9 {
				regulator-name = "axp8191-dcdc9";
				regulator-min-microvolt = <500000>;
				regulator-max-microvolt = <3400000>;
				regulator-ramp-delay = <250>;
				regulator-enable-ramp-delay = <1000>;
				regulator-boot-on;
				regulator-always-on;
			};
			reg_rtcldo: rtcldo {
				/* RTC_LDO is a fixed, always-on regulator */
				regulator-name = "axp8191-rtcldo";
				regulator-min-microvolt = <1800000>;
				regulator-max-microvolt = <1800000>;
				regulator-boot-on;
				regulator-always-on;
			};
			reg_aldo1: aldo1 {
				regulator-name = "axp8191-aldo1";
				regulator-min-microvolt = <500000>;
				regulator-max-microvolt = <3400000>;
				regulator-enable-ramp-delay = <1000>;
				regulator-boot-on;
				regulator-always-on;
			};
			reg_aldo2: aldo2 {
				regulator-name = "axp8191-aldo2";
				regulator-min-microvolt = <500000>;
				regulator-max-microvolt = <3400000>;
				regulator-enable-ramp-delay = <1000>;
			};
			reg_aldo3: aldo3 {
				regulator-name = "axp8191-aldo3";
				regulator-min-microvolt = <500000>;
				regulator-max-microvolt = <3400000>;
				regulator-enable-ramp-delay = <1000>;
			};
			reg_aldo4: aldo4 {
				regulator-name = "axp8191-aldo4";
				regulator-min-microvolt = <500000>;
				regulator-max-microvolt = <3400000>;
				regulator-enable-ramp-delay = <1000>;
			};
			reg_aldo5: aldo5 {
				regulator-name = "axp8191-aldo5";
				regulator-min-microvolt = <500000>;
				regulator-max-microvolt = <3400000>;
				regulator-enable-ramp-delay = <1000>;
			};
			reg_aldo6: aldo6 {
				regulator-name = "axp8191-aldo6";
				regulator-min-microvolt = <500000>;
				regulator-max-microvolt = <3400000>;
				regulator-enable-ramp-delay = <1000>;
			};
			reg_bldo1: bldo1 {
				regulator-name = "axp8191-bldo1";
				regulator-min-microvolt = <500000>;
				regulator-max-microvolt = <3400000>;
				regulator-enable-ramp-delay = <1000>;
				regulator-boot-on;
				regulator-always-on;
			};
			reg_bldo2: bldo2 {
				regulator-name = "axp8191-bldo2";
				regulator-min-microvolt = <500000>;
				regulator-max-microvolt = <3400000>;
				regulator-enable-ramp-delay = <1000>;
				regulator-boot-on;
				regulator-always-on;
			};
			reg_bldo3: bldo3 {
				regulator-name = "axp8191-bldo3";
				regulator-min-microvolt = <500000>;
				regulator-max-microvolt = <3400000>;
				regulator-enable-ramp-delay = <1000>;
			};
			reg_bldo4: bldo4 {
				regulator-name = "axp8191-bldo4";
				regulator-min-microvolt = <500000>;
				regulator-max-microvolt = <3400000>;
				regulator-enable-ramp-delay = <1000>;
			};
			reg_bldo5: bldo5 {
				regulator-name = "axp8191-bldo5";
				regulator-min-microvolt = <500000>;
				regulator-max-microvolt = <3400000>;
				regulator-enable-ramp-delay = <1000>;
				regulator-boot-on;
				regulator-always-on;
			};
			reg_cldo1: cldo1 {
				regulator-name = "axp8191-cldo1";
				regulator-min-microvolt = <500000>;
				regulator-max-microvolt = <3500000>;
				regulator-enable-ramp-delay = <1000>;
				regulator-boot-on;
				regulator-always-on;
			};
			reg_cldo2: cldo2 {
				regulator-name = "axp8191-cldo2";
				regulator-min-microvolt = <500000>;
				regulator-max-microvolt = <3500000>;
				regulator-enable-ramp-delay = <1000>;
			};
			reg_cldo3: cldo3 {
				regulator-name = "axp8191-cldo3";
				regulator-min-microvolt = <500000>;
				regulator-max-microvolt = <3500000>;
				regulator-enable-ramp-delay = <1000>;
				regulator-boot-on;
				regulator-always-on;
			};
			reg_cldo4: cldo4 {
				regulator-name = "axp8191-cldo4";
				regulator-min-microvolt = <500000>;
				regulator-max-microvolt = <3500000>;
				regulator-enable-ramp-delay = <1000>;
			};
			reg_cldo5: cldo5 {
				regulator-name = "axp8191-cldo5";
				regulator-min-microvolt = <500000>;
				regulator-max-microvolt = <3400000>;
				regulator-enable-ramp-delay = <1000>;
				regulator-boot-on;
				regulator-always-on;
			};
			reg_dldo1: dldo1 {
				regulator-name = "axp8191-dldo1";
				regulator-min-microvolt = <500000>;
				regulator-max-microvolt = <3400000>;
				regulator-enable-ramp-delay = <1000>;
				regulator-boot-on;
				regulator-always-on;
			};
			reg_dldo2: dldo2 {
				regulator-name = "axp8191-dldo2";
				regulator-min-microvolt = <500000>;
				regulator-max-microvolt = <3400000>;
				regulator-enable-ramp-delay = <1000>;
			};
			reg_dldo3: dldo3 {
				regulator-name = "axp8191-dldo3";
				regulator-min-microvolt = <500000>;
				regulator-max-microvolt = <3400000>;
				regulator-enable-ramp-delay = <1000>;
			};
			reg_dldo4: dldo4 {
				regulator-name = "axp8191-dldo4";
				regulator-min-microvolt = <500000>;
				regulator-max-microvolt = <3400000>;
				regulator-enable-ramp-delay = <1000>;
			};
			reg_dldo5: dldo5 {
				regulator-name = "axp8191-dldo5";
				regulator-min-microvolt = <500000>;
				regulator-max-microvolt = <3400000>;
				regulator-enable-ramp-delay = <1000>;
			};
			reg_dldo6: dldo6 {
				regulator-name = "axp8191-dldo6";
				regulator-min-microvolt = <500000>;
				regulator-max-microvolt = <3400000>;
				regulator-enable-ramp-delay = <1000>;
				regulator-boot-on;
				regulator-always-on;
			};
			reg_eldo1: eldo1 {
				regulator-name = "axp8191-eldo1";
				regulator-min-microvolt = <500000>;
				regulator-max-microvolt = <3400000>;
				regulator-enable-ramp-delay = <1000>;
				regulator-boot-on;
				regulator-always-on;
			};
			reg_eldo2: eldo2 {
				regulator-name = "axp8191-eldo2";
				regulator-min-microvolt = <500000>;
				regulator-max-microvolt = <3400000>;
				regulator-enable-ramp-delay = <1000>;
				regulator-boot-on;
				regulator-always-on;
			};
			reg_eldo3: eldo3 {
				regulator-name = "axp8191-eldo3";
				regulator-min-microvolt = <500000>;
				regulator-max-microvolt = <3400000>;
				regulator-enable-ramp-delay = <1000>;
			};
			reg_eldo4: eldo4 {
				regulator-name = "axp8191-eldo4";
				regulator-min-microvolt = <500000>;
				regulator-max-microvolt = <3400000>;
				regulator-enable-ramp-delay = <1000>;
			};
			reg_eldo5: eldo5 {
				regulator-name = "axp8191-eldo5";
				regulator-min-microvolt = <500000>;
				regulator-max-microvolt = <3400000>;
				regulator-enable-ramp-delay = <1000>;
			};
			reg_eldo6: eldo6 {
				regulator-name = "axp8191-eldo6";
				regulator-min-microvolt = <500000>;
				regulator-max-microvolt = <3400000>;
				regulator-enable-ramp-delay = <1000>;
				regulator-always-on;
				regulator-boot-on;
			};
			reg_dc1sw1: dc1sw1 {
				regulator-name = "axp8191-dc1sw1";
				swin-supply = <&reg_dcdc1>;
				regulator-boot-on;
				regulator-state-mem {
					regulator-off-in-suspend;
				};
			};
			reg_dc1sw2: dc1sw2 {
				regulator-name = "axp8191-dc1sw2";
				swin-supply = <&reg_dcdc1>;
				/* add always-on */
				regulator-always-on;
			};
		};

		virtual-dcdc1 {
			compatible = "xpower-vregulator,dcdc1";
			dcdc1-supply = <&reg_dcdc1>;
		};
		virtual-dcdc2 {
			compatible = "xpower-vregulator,dcdc2";
			dcdc2-supply = <&reg_dcdc2>;
		};
		virtual-dcdc3 {
			compatible = "xpower-vregulator,dcdc3";
			dcdc3-supply = <&reg_dcdc3>;
		};
		virtual-dcdc4 {
			compatible = "xpower-vregulator,dcdc4";
			dcdc4-supply = <&reg_dcdc4>;
		};
		virtual-dcdc5 {
			compatible = "xpower-vregulator,dcdc5";
			dcdc5-supply = <&reg_dcdc5>;
		};
		virtual-dcdc6 {
			compatible = "xpower-vregulator,dcdc6";
			dcdc6-supply = <&reg_dcdc6>;
		};
		virtual-dcdc7 {
			compatible = "xpower-vregulator,dcdc7";
			dcdc7-supply = <&reg_dcdc7>;
		};
		virtual-dcdc8 {
			compatible = "xpower-vregulator,dcdc8";
			dcdc8-supply = <&reg_dcdc8>;
		};
		virtual-dcdc9 {
			compatible = "xpower-vregulator,dcdc9";
			dcdc9-supply = <&reg_dcdc9>;
		};
		virtual-rtcldo {
			compatible = "xpower-vregulator,rtcldo";
			rtcldo-supply = <&reg_rtcldo>;
		};
		virtual-aldo1 {
			compatible = "xpower-vregulator,aldo1";
			aldo1-supply = <&reg_aldo1>;
		};
		virtual-aldo2 {
			compatible = "xpower-vregulator,aldo2";
			aldo2-supply = <&reg_aldo2>;
		};
		virtual-aldo3 {
			compatible = "xpower-vregulator,aldo3";
			aldo3-supply = <&reg_aldo3>;
		};
		virtual-aldo4 {
			compatible = "xpower-vregulator,aldo4";
			aldo4-supply = <&reg_aldo4>;
		};
		virtual-aldo5 {
			compatible = "xpower-vregulator,aldo5";
			aldo5-supply = <&reg_aldo5>;
		};
		virtual-aldo6 {
			compatible = "xpower-vregulator,aldo6";
			aldo6-supply = <&reg_aldo6>;
		};
		virtual-dldo1 {
			compatible = "xpower-vregulator,dldo1";
			dldo1-supply = <&reg_dldo1>;
		};
		virtual-dldo2 {
			compatible = "xpower-vregulator,dldo2";
			dldo2-supply = <&reg_dldo2>;
		};
		virtual-dldo3 {
			compatible = "xpower-vregulator,dldo3";
			dldo3-supply = <&reg_dldo3>;
		};
		virtual-dldo4 {
			compatible = "xpower-vregulator,dldo4";
			dldo4-supply = <&reg_dldo4>;
		};
		virtual-dldo5 {
			compatible = "xpower-vregulator,dldo5";
			dldo5-supply = <&reg_dldo5>;
		};
		virtual-dldo6 {
			compatible = "xpower-vregulator,dldo6";
			dldo6-supply = <&reg_dldo6>;
		};
		virtual-eldo1 {
			compatible = "xpower-vregulator,eldo1";
			eldo1-supply = <&reg_eldo1>;
		};
		virtual-eldo2 {
			compatible = "xpower-vregulator,eldo2";
			eldo2-supply = <&reg_eldo2>;
		};
		virtual-eldo3 {
			compatible = "xpower-vregulator,eldo3";
			eldo3-supply = <&reg_eldo3>;
		};
		virtual-eldo4 {
			compatible = "xpower-vregulator,eldo4";
			eldo4-supply = <&reg_eldo4>;
		};
		virtual-eldo5 {
			compatible = "xpower-vregulator,eldo5";
			eldo5-supply = <&reg_eldo5>;
		};
		virtual-eldo6 {
			compatible = "xpower-vregulator,eldo6";
			eldo6-supply = <&reg_eldo6>;
		};
		virtual-dc1sw1 {
			compatible = "xpower-vregulator,dc1sw1";
			dc1sw-supply = <&reg_dc1sw1>;
		};
		virtual-dc1sw2 {
			compatible = "xpower-vregulator,dc1sw2";
			dc1sw-supply = <&reg_dc1sw2>;
		};
	};
};

&s_twi1 {
	clock-frequency = <400000>;
	pinctrl-0 = <&s_twi1_pins_default>;
	pinctrl-1 = <&s_twi1_pins_sleep>;
	pinctrl-names = "default", "sleep";
	/* For stability and backwards compatibility, we recommend setting ‘twi_drv_used’ to 1 */
	twi_drv_used = <1>;
	no_suspend = <1>;
	status = "okay";

	husb311: husb311@4e {
		compatible = "hynetek,husb311";
		reg = <0x4e>;
		interrupt-parent = <&r_pio>;
		interrupts = <PL 3 IRQ_TYPE_LEVEL_LOW>;
		husb311,intr_gpio = <&r_pio PL 3 GPIO_ACTIVE_LOW>;
		vbus-supply = <&reg_usb0_vbus>;
		/* aw,vbus-wakeup-quirk; */
		/* aw,port-reset-quirk; */
		status = "okay";

		ports {
			#address-cells = <1>;
			#size-cells = <0>;

			port@0 {
				reg = <0>;
				usbc2_role_sw: endpoint@0 {
					remote-endpoint = <&dwc3_0_role_switch>;
				};
			};
		};

		usb_con: connector {
			compatible = "usb-c-connector";
			label = "USB-C";
			data-role = "dual";
			power-role = "dual";
			try-power-role = "source";
			op-sink-microwatt = <1000000>;
			typec-power-opmode = "default";
			slow-charger-loop;
			source-pdos = < PDO_FIXED(5000, 500, (0x1<<29)|(0x1<<25))
							PDO_VAR(5000, 5000, 1200) >;
			sink-pdos = < PDO_FIXED(5000, 500, (0x1<<29)|(0x1<<25))
						 PDO_VAR(5000, 5000, 2000)
						 /* PDO_VAR(9000, 9000, 2000)
						 PDO_VAR(12000, 12000, 3000)
						 PDO_VAR(15000, 15000, 3000)
						 PDO_VAR(20000, 20000, 2250)*/
						>;
			/* fixme */
			sink-vdos = <0xd1002e99 0x00 0x03110000>;
			sink-vdos-v1 = <0xd1002e99 0x00 0x03110000>;

			altmodes {
				#address-cells = <1>;
				#size-cells = <0>;

				altmode@0 {
					reg = <0>;
					svid = <0xff01>;
					vdo = <0xffffffff>;
				};
			};

			ports {
				#address-cells = <1>;
				#size-cells = <0>;

				port@0 {
					reg = <0>;
					usbc2_orien_sw: endpoint@0 {
						remote-endpoint = <&usbdp_orientation_switch>;
					};
				};
				port@1 {
					reg = <1>;
					dp_altmode_mux: endpoint@1 {
						remote-endpoint = <&usbdp_dp_altmode_mux>;
					};
				};
			};
		};
	};
};

&de {
	assigned-clock-rates = <600000000>;
	chn_cfg_mode = <2>;
	status = "okay";
};

&vo0 {
	status = "okay";
};

&vo1 {
	status = "okay";
};

&tv0 {
	status = "okay";
};

&tv1 {
	status = "okay";
};

&edp0 {
	#sound-dai-cells = <0>; /* audio driver match method arg */
	compatible = "allwinner,drm-dp";
	phys = <&combo0_dp>, <&aux_hpd_phy>;
	phy-names = "dp-phy", "aux-phy";
	sys = <&vo1>;

	edp_colordepth = <8>; /* 6/8/10/12/16 */
	edp_color_fmt = <0>;
	edp_ssc_en = <0>;
	edp_ssc_mode = <0>;

	edp_lane_rate = <1>;
	edp_lane_cnt = <4>;
	extcon = <&serdes>;

	status = "okay";
	ports {
		#address-cells = <1>;
		#size-cells = <0>;
		edp_in: port@0 {
			#address-cells = <1>;
			#size-cells = <0>;
			reg = <0>;
			edp0_in_tcon4: endpoint@0 {
				reg = <0>;
				remote-endpoint = <&tcon4_out_edp0>;
			};
		};
		edp_out: port@1 {
			#address-cells = <1>;
			#size-cells = <0>;
			reg = <1>;
		};
	};
};

&cpu0 {
	cpu-supply = <&reg_dcdc5>;
};

&dsufreq {
	dsu-supply = <&reg_dcdc5>;
};

&cpu6 {
	cpu-supply = <&reg_dcdc3>;
};

&npu {
	npu-supply = <&reg_dcdc2>;
	status = "okay";
};

&addr_mgt {
	compatible     = "allwinner,sunxi-addr_mgt";
	type_addr_wifi = <0x0>;
	type_addr_bt   = <0x0>;
	type_addr_eth  = <0x0>;
	status         = "okay";
};

&i2s3_plat {
	tdm-num		= <3>;
	tx-pin          = <0 1 2 3>;
	tx-pin0-map0    = <0x76543210>;
	tx-pin0-map1    = <0xFEDCBA98>;
	tx-pin1-map0    = <0x76543210>;
	tx-pin1-map1    = <0xFEDCBA98>;
	tx-pin2-map0    = <0x76543210>;
	tx-pin2-map1    = <0xFEDCBA98>;
	tx-pin3-map0    = <0x76543210>;
	tx-pin3-map1    = <0xFEDCBA98>;
	rx-pin		= <0>;

	tx-hub-en;
	rx-sync-en;
	/* av:  */
	/* av not need dai-type */
	status		= "okay";
};

&i2s3_mach {
	soundcard-mach,format		= "i2s";
	soundcard-mach,frame-master	= <&i2s3_cpu>;
	soundcard-mach,bitclock-master	= <&i2s3_cpu>;
	/* soundcard-mach,frame-inversion; */
	/* soundcard-mach,bitclock-inversion; */
	soundcard-mach,slot-num		= <2>;
	soundcard-mach,slot-width	= <32>;
	soundcard-mach,playback-only;
	soundcard-mach,name = "allwinner-edp";
	status		= "okay";
	i2s3_cpu: soundcard-mach,cpu {
		sound-dai = <&i2s3_plat>;
		/* av: */
		soundcard-mach,pll-fs	= <4>;
		soundcard-mach,mclk-fs	= <512>;
	};
	i2s3_codec: soundcard-mach,codec {
		/* av: */
		sound-dai               = <&edp0>;
	};
};

&gmac0_phy0 {
	compatible = "ethernet-phy-id7b74.4412";
	reset-gpios = <&pio PH 16 GPIO_ACTIVE_LOW>;
};

&gmac0 {
	phy-mode = "rgmii";
	pinctrl-0 = <&gmac0_pins_default>;
	pinctrl-1 = <&gmac0_pins_sleep>;
	pinctrl-names = "default", "sleep";
	aw,soc-phy-clk-en;
	/delete-property/ aw,rgmii-clk-ext;
	tx-delay = <12>;
	rx-delay = <10>;
	dwmac3v3-supply = <&reg_dc1sw2>;
	phy3v3-supply = <&reg_dc1sw1>;
	status = "okay";
};

&lradc {
	key_cnt = <5>;
	key0 = <210 115>;
	key1 = <410 114>;
	key2 = <590 139>;
	key3 = <750 28>;
	key4 = <880 172>;
	status = "okay";
};

&gpadc0 {
	channel_num = <8>;
	channel_select = <0x0f>;
	channel_data_select = <0x0>;
	channel_compare_select = <0x0>;
	channel_cld_select = <0x0>;
	channel_chd_select = <0x0>;
	channel0_compare_lowdata = <1700000>;
	channel0_compare_higdata = <1200000>;
	channel1_compare_lowdata = <460000>;
	channel1_compare_higdata = <1200000>;
	status = "okay";
};

&s_irrx {
	pinctrl-names = "default", "sleep";
	pinctrl-0 = <&s_irrx_pins_default>;
	pinctrl-1 = <&s_irrx_pins_sleep>;
	status = "okay";
};

&gpu  {
	gpu-supply = <&reg_dcdc4>;
};

&sid {
	sid-supply = <&reg_dldo1>;
	voltage = <1800>;
};

&hdmi0 {
	dcdc2-supply = <&reg_dcdc2>;
	cldo2-supply = <&reg_cldo2>;
	hdmi_power0 = "dcdc2";
	hdmi_power1 = "cldo2";
	hdmi_power_cnt = <2>;
	hdmi_hdcp1x_enable = <1>;
	hdmi_hdcp2x_enable = <1>;
	hdmi_cec_enable = <1>;
	hdmi_clock_source = <0>;
	hdmi_resistor_select = <1>;
	hdmi_ddc_index = <20>;
	priority = <6>;
	snps_phy = <
		 25000 185625 0x0007 0x8160 0x8188
		185625 185625 0x0007 0x8160 0x8198
		185625 340000 0x0004 0x8040 0x8E85
		340000 600000 0x0000 0x80c0 0x82F6>;
	status = "okay";
};

&hdmi_codec {
	extcon = <&hdmi0>;
	status = "okay";
};
